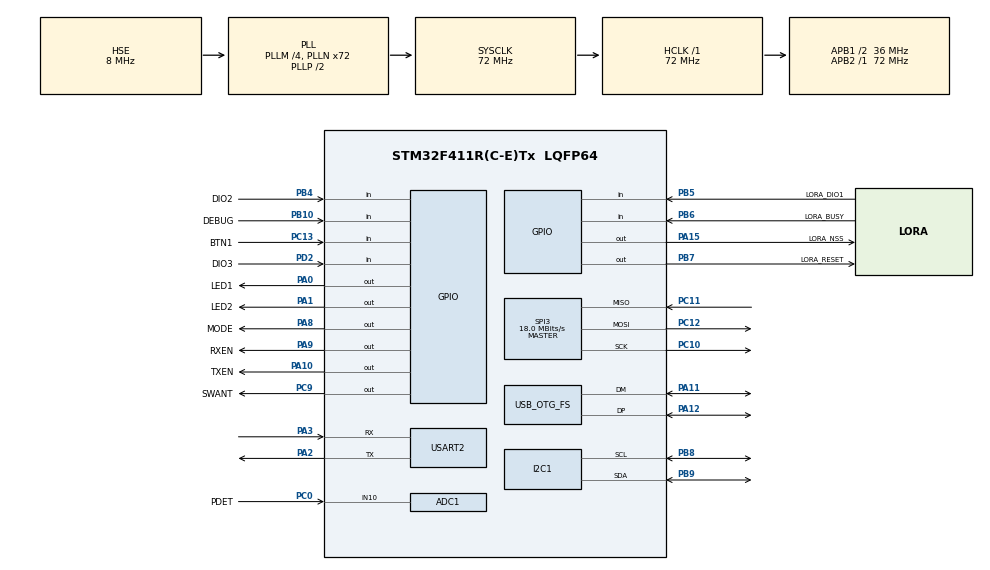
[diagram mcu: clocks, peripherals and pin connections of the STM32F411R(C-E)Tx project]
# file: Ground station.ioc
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ADC1.Channel-34\#ChannelRegularConversion=ADC_CHANNEL_10
ADC1.NbrOfConversionFlag=1
ADC1.Rank-34\#ChannelRegularConversion=1
ADC1.SamplingTime-34\#ChannelRegularConversion=ADC_SAMPLETIME_3CYCLES
ADC1.master=1
Mcu.Family=STM32F4
Mcu.Name=STM32F411R(C-E)Tx
Mcu.Package=LQFP64
NVIC.OTG_FS_IRQn=true\:0\:0\:false\:false\:true\:false\:true
NVIC.PriorityGroup=NVIC_PRIORITYGROUP_4
PA0-WKUP.GPIO_Label=LED1
PA0-WKUP.Signal=GPIO_Output
PA1.GPIO_Label=LED2
PA1.Signal=GPIO_Output
PA10.GPIO_Label=TXEN
PA10.Signal=GPIO_Output
PA11.Mode=Device_Only
PA11.Signal=USB_OTG_FS_DM
PA12.Mode=Device_Only
PA12.Signal=USB_OTG_FS_DP
PA13.Mode=Trace_Asynchronous_SW
PA13.Signal=SYS_JTMS-SWDIO
PA14.Mode=Trace_Asynchronous_SW
PA14.Signal=SYS_JTCK-SWCLK
PA15.GPIO_Label=LORA_NSS
PA15.Signal=GPIO_Output
PA2.Mode=Asynchronous
PA2.Signal=USART2_TX
PA3.Mode=Asynchronous
PA3.Signal=USART2_RX
PA8.GPIO_Label=MODE
PA8.PinState=GPIO_PIN_SET
PA8.Signal=GPIO_Output
PA9.GPIO_Label=RXEN
PA9.Signal=GPIO_Output
PB10.GPIO_Label=DEBUG
PB10.GPIO_PuPd=GPIO_PULLUP
PB10.Signal=GPIO_Input
PB3.Mode=Trace_Asynchronous_SW
PB3.Signal=SYS_JTDO-SWO
PB4.GPIO_Label=DIO2
PB4.Signal=GPIO_Input
PB5.GPIO_Label=LORA_DIO1
PB5.Signal=GPIO_Input
PB6.GPIO_Label=LORA_BUSY
PB6.Signal=GPIO_Input
PB7.GPIO_Label=LORA_RESET
PB7.Signal=GPIO_Output
PB8.Mode=I2C
PB8.Signal=I2C1_SCL
PB9.Mode=I2C
PB9.Signal=I2C1_SDA
PC0.GPIO_Label=PDET
PC0.Signal=ADCx_IN10
PC10.Mode=Full_Duplex_Master
PC10.Signal=SPI3_SCK
PC11.Mode=Full_Duplex_Master
PC11.Signal=SPI3_MISO
PC12.Mode=Full_Duplex_Master
PC12.Signal=SPI3_MOSI
PC13-ANTI_TAMP.GPIO_Label=BTN1
PC13-ANTI_TAMP.Signal=GPIO_Input
PC9.GPIO_Label=SWANT
PC9.PinState=GPIO_PIN_SET
PC9.Signal=GPIO_Output
PD2.GPIO_Label=DIO3
PD2.Signal=GPIO_Input
PH0\ -\ OSC_IN.Mode=HSE-External-Oscillator
PH0\ -\ OSC_IN.Signal=RCC_OSC_IN
PH1\ -\ OSC_OUT.Mode=HSE-External-Oscillator
PH1\ -\ OSC_OUT.Signal=RCC_OSC_OUT
ProjectManager.HeapSize=0x200
ProjectManager.StackSize=0x400
ProjectManager.TargetToolchain=STM32CubeIDE
RCC.48MHZClocksFreq_Value=48000000
RCC.AHBFreq_Value=72000000
RCC.APB1CLKDivider=RCC_HCLK_DIV2
RCC.APB1Freq_Value=36000000
RCC.APB1TimFreq_Value=72000000
RCC.APB2Freq_Value=72000000
RCC.APB2TimFreq_Value=72000000
RCC.CortexFreq_Value=72000000
RCC.HCLKFreq_Value=72000000
RCC.HSE_VALUE=8000000
RCC.HSI_VALUE=16000000
RCC.LSE_VALUE=32768
RCC.PLLM=4
RCC.PLLN=72
RCC.PLLQ=3
RCC.SYSCLKFreq_VALUE=72000000
RCC.SYSCLKSource=RCC_SYSCLKSOURCE_PLLCLK
RCC.VCOOutputFreq_Value=144000000
SH.ADCx_IN10.0=ADC1_IN10,IN10
SPI3.BaudRatePrescaler=SPI_BAUDRATEPRESCALER_2
SPI3.CalculateBaudRate=18.0 MBits/s
SPI3.Direction=SPI_DIRECTION_2LINES
SPI3.Mode=SPI_MODE_MASTER
SPI3.VirtualType=VM_MASTER
USART2.VirtualMode=VM_ASYNC
USB_DEVICE.CLASS_NAME_FS=CDC
USB_DEVICE.VirtualMode=Cdc
USB_DEVICE.VirtualModeFS=Cdc_FS
USB_OTG_FS.VirtualMode=Device_Only
VP_USB_DEVICE_VS_USB_DEVICE_CDC_FS.Mode=CDC_FS
board=custom

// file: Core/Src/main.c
/* USER CODE BEGIN Header */
/**
  ******************************************************************************
  * @file           : main.c
  * @brief          : Main program body
  ******************************************************************************
  * @attention
  *
  * <h2><center>&copy; Copyright (c) 2020 STMicroelectronics.
  * All rights reserved.</center></h2>
  *
  * This software component is licensed by ST under BSD 3-Clause license,
  * the "License"; You may not use this file except in compliance with the
  * License. You may obtain a copy of the License at:
  *                        opensource.org/licenses/BSD-3-Clause
  *
  ******************************************************************************
  */
/* USER CODE END Header */
#include "main.h"
#include "usb_device.h"

/* USER CODE BEGIN Includes */
#include "usbd_cdc_if.h"
#include "sx1280_custom.h"
#include "telemetry.h"
/* USER CODE END Includes */

/* USER CODE BEGIN PTD */

typedef struct Quaternion {
    float w;       /**< Scalar part */
    float v[3];    /**< Vector part */
} Quaternion;

/* USER CODE END PTD */

ADC_HandleTypeDef hadc1;

I2C_HandleTypeDef hi2c1;

SPI_HandleTypeDef hspi3;

UART_HandleTypeDef huart2;

/* USER CODE BEGIN PV */

uint8_t is_ant1 = 1;

/* USER CODE END PV */

void SystemClock_Config(void);
static void MX_GPIO_Init(void);
static void MX_ADC1_Init(void);
static void MX_I2C1_Init(void);
static void MX_SPI3_Init(void);
static void MX_USART2_UART_Init(void);
/* USER CODE BEGIN PFP */

void switchAntenna() {
    is_ant1 = !is_ant1;

    HAL_GPIO_WritePin(SWANT_GPIO_Port, SWANT_Pin, is_ant1);
    HAL_GPIO_WritePin(LED2_GPIO_Port, LED2_Pin, is_ant1);
}

/* USER CODE END PFP */

/* USER CODE BEGIN 0 */

void loraTesting(uint8_t isTx) {

    sx1280_custom radio;
    sxInit(&radio, &hspi3, LORA_NSS_GPIO_Port, LORA_NSS_Pin);

    if (isTx) {
        //SetTxParams(0x06, 0xE0); // Power = 13 dBm (0x1F), Pout = -18 + power (dBm) ramptime = 20 us.
        //SetTxParams(0x00, 0xE0); // lowest power -18dBm
        SetTxParams(&radio, 31, 0xE0); // Highest power. 12.5 dBm
        HAL_Delay(3);

        uint8_t data[] = { 0, 0, 0, 0 };

        WriteBuffer(&radio, 0, data, sizeof(data));
        HAL_Delay(1);

        SetDioIrqParams(&radio, 1, 1, 0, 0); // txdone on gpio1

        //SetTxContinuousWave();
        HAL_Delay(3);

        uint8_t ledon = 0;

        while (1) {
            ledon = !ledon;
            //data[1] = (rand()%5) * 30;
            //data[2] = (rand()%5) * 30;
            //data[3] = (rand()%5) * 30;
            data[2] = ledon * 100;

            //changeLed(data[1], data[2], data[3]);

            WriteBuffer(&radio, 0, data, sizeof(data));
            HAL_Delay(1);
            ClrIrqStatus(&radio, 1); // clear txdone irq
            HAL_Delay(1);
            SetTx(&radio, 0x02, 50); // time-out of 1ms * 50 = 50ms
            //SetRfFrequency2();
            //HAL_Delay(5000);
            //SetRfFrequency();
            //changeLed(0, 100, 0);
            HAL_Delay(500);
        }
    } else {
        // rx mode
        SetDioIrqParams(&radio, 1 << 1, 1 << 1, 0, 0); //rxdone on gpio1
        HAL_Delay(1);

        uint8_t data[32];
        data[0] = 60;
        data[1] = 60;
        data[2] = 60;
        uint8_t rxStartBufferPointer = 1;

        uint8_t counter = 0;

        while (1) {

            //SetRx(0x00, 0xffff); // continous rx
            SetRx(&radio, 0x00, 0); // No timeout
            //SetRx(0x02, 200); // 200 ms timeout
            HAL_Delay(1);
            // wait for reception:
            while (!HAL_GPIO_ReadPin(LORA_DIO1_GPIO_Port, LORA_DIO1_Pin)) {
            }

            //GetPacketStatus(); // TODO
            ClrIrqStatus(&radio, 1 << 1); // clear rxdone Irq
            HAL_Delay(1);
            //GetRxBufferStatus(); // TODO
            ReadBuffer(&radio, rxStartBufferPointer, 32, data);
            changeLed(data[1], data[2], data[3]);
            if (data[2]) {
                //htim2.Instance->CCR4 = 1000;
            } else {
                //htim2.Instance->CCR4 = 2000;
            }

            HAL_Delay(10);

        }

    }
}

void loraOrientation(uint8_t isTx) {

    sx1280_custom radio;

    sxInit(&radio, &hspi3, LORA_NSS_GPIO_Port, LORA_NSS_Pin);
    sxSetDio1Pin(&radio, LORA_DIO1_GPIO_Port, LORA_DIO1_Pin);

    float data[4];

    char printBuffer[128];

    if (isTx) {
    } else {
        // rx mode
        SetDioIrqParams(&radio, 1 << 1, 1 << 1, 0, 0); //rxdone on gpio1
        HAL_Delay(1);

        uint8_t rxStartBufferPointer = 1;

        //changeLed(0, 100, 0);
        while (1) {

            //SetRx(0x00, 0xffff); // continous rx
            SetRx(&radio, 0x00, 0); // No timeout
            //SetRx(0x02, 200); // 200 ms timeout
            HAL_Delay(1);
            // wait for reception:
            while (!HAL_GPIO_ReadPin(LORA_DIO1_GPIO_Port, LORA_DIO1_Pin)) {
            }

            GetPacketStatusLora(&radio);
            ClrIrqStatus(&radio, 1 << 1); // clear rxdone Irq
            HAL_Delay(1);
            //GetRxBufferStatus(); // TODO

            ReadBuffer(&radio, rxStartBufferPointer, sizeof(data),
                    (uint8_t*) data);
            snprintf(printBuffer, 128,
                    "Quaternion: %f, %f, %f, %f, RSSI: %f, SNR: %f\r\n",
                    data[0], data[1], data[2], data[3], radio.rssi, radio.snr);
            CDC_Transmit_FS((uint8_t*) printBuffer, strlen(printBuffer));
            HAL_Delay(1);

        }

    }
}

void loraTelemetry() {
    TLM_decoded TLM_dec;
    TLM_encoded TLM_enc;

    sx1280_custom radio;

    sxInit(&radio, &hspi3, LORA_NSS_GPIO_Port, LORA_NSS_Pin);
    sxSetDio1Pin(&radio, LORA_DIO1_GPIO_Port, LORA_DIO1_Pin);

    char printBuffer[256];

    // rx mode
    SetDioIrqParams(&radio, 1 | (1 << 1) | (1 << 6), 1 | 1 << 1, 0, 0); //rxdone/txdone on gpio1, crcerror on as well
    HAL_Delay(1);
    SetTxParams(&radio, 0x1F, 0xE0);
    HAL_Delay(1);

    uint8_t rxStartBufferPointer = 0;
    /*
    TLM_dec.packet_type = 1;
    TLM_dec.flight_state = 23;
    TLM_dec.is_playing_music = 0;
    TLM_dec.is_data_logging = 0;
    TLM_dec.pin_states = 0b00011011;
    TLM_dec.servo_state = 3;
    TLM_dec.vbat = 7.283;
    TLM_dec.systick = 1232432;
    TLM_dec.orientation_quat[0] = 0.143123;
    TLM_dec.acc[2] = -12343;
    TLM_dec.gyro[2] = -21;
    TLM_dec.baro = 90001.623;
    TLM_dec.temp = 63.4;
    TLM_dec.vertical_velocity = 180;
    TLM_dec.altitude = 1321;
    TLM_dec.debug = 1337;
    TLM_dec.ranging = 15212;

     */

    float latitude = 52.394821;
    float longitude = 5.922696;

    float acc_conversion = 0.0095712904;
    float gyro_conversion = 0.00122173047; //0.070;

    uint32_t pkt_count = 0;

    //changeLed(0, 100, 0);
    uint8_t data[4];
    uint32_t lasttime = HAL_GetTick();
    uint32_t nowtime = HAL_GetTick();
    uint32_t delay = 0;

    uint8_t is_soft_enabled;
    uint8_t is_armed ;
    uint8_t is_breakwire_connected;
    uint8_t is_camera_on;

    uint8_t button_pressed = 0;

    uint8_t controlData[4];

    uint8_t last_cam_control_state = 1;
    uint8_t debounce_helper = 0;
    while (1) {

        //SetRx(0x00, 0xffff); // continous rx
        SetRx(&radio, 0x00, 0); // No timeout
        //SetRx(0x02, 200); // 200 ms timeout
        HAL_Delay(1);
        // wait for reception:
        for (int i = 0; i < 70; i++) { // 50 ms timeout
            if (HAL_GPIO_ReadPin(LORA_DIO1_GPIO_Port, LORA_DIO1_Pin)) {
                nowtime = HAL_GetTick();
                delay = nowtime - lasttime  ;
                lasttime = nowtime;
                break;
            }
            HAL_Delay(1);
        }

        if (HAL_GPIO_ReadPin(LORA_DIO1_GPIO_Port, LORA_DIO1_Pin)) {

            pkt_count++;

            GetPacketStatusLora(&radio);
            GetIrqStatus(&radio);

            ClrIrqStatus(&radio, 1 | (1 << 1) | (1 << 6)); // clear rxdone/txdone Irq and crcerror
            HAL_Delay(1);
            //GetRxBufferStatus(); // TODO

            ReadBuffer(&radio, rxStartBufferPointer, sizeof(TLM_enc),
                    (uint8_t*) &TLM_enc);
            //ReadBuffer(&radio, rxStartBufferPointer, sizeof(data), (uint8_t*) data);
            decode_TLM(&TLM_enc, &TLM_dec);
            //snprintf(printBuffer, 128, "%d,%d,%d,%d,%d,%d,%f,%d,%f,%d,%d,%f,%f,%f,%f,%f\r\n", TLM_dec.packet_type,TLM_dec.flight_state,TLM_dec.is_playing_music,TLM_dec.is_data_logging,
            //        TLM_dec.pin_states,TLM_dec.servo_state, TLM_dec.vbat, TLM_dec.systick, TLM_dec.orientation_quat[0], TLM_dec.acc[2],TLM_dec.gyro[2],TLM_dec.baro, TLM_dec.temp, TLM_dec.vertical_velocity,
            //        TLM_dec.altitude, TLM_dec.ranging);

            is_soft_enabled = (TLM_dec.pin_states & 1);
            is_armed = (TLM_dec.pin_states & (1 << 1)) >> 1;
            is_breakwire_connected = (TLM_dec.pin_states & (1 << 2)) >> 2;
            is_camera_on = (TLM_dec.pin_states & (1 << 3)) >> 3;

            snprintf(printBuffer, 256,
                    "/*Project Zeggreus,%ld,%ld,%f,%f,%f,%f,%f,%ld,%ld,%f,%f,%f,%f,%f,%f,%f,%f,%f,%f,%f,%d,%d,%d,%d,%d,%d,%d,%f,%f,%f,%f*/\r\n",
                    TLM_dec.systick, pkt_count, TLM_dec.vbat, TLM_dec.temp,
                    TLM_dec.altitude, TLM_dec.baro / 1000, TLM_dec.temp, delay,
                    TLM_dec.systick, longitude, latitude, TLM_dec.altitude, 0.0,
                    TLM_dec.acc[0] * acc_conversion,
                    TLM_dec.acc[1] * acc_conversion,
                    TLM_dec.acc[2] * acc_conversion,
                    TLM_dec.gyro[0] * gyro_conversion,
                    TLM_dec.gyro[1] * gyro_conversion,
                    TLM_dec.gyro[2] * gyro_conversion, radio.rssi,
                    radio.crcError, is_ant1 ? 1 : 2, is_soft_enabled, is_armed,
                    is_breakwire_connected, is_camera_on,TLM_dec.flight_state), TLM_dec.orientation_quat[0],TLM_dec.orientation_quat[1],TLM_dec.orientation_quat[2],TLM_dec.orientation_quat[3];

            //snprintf(printBuffer, 128, "Quaternion:%f, %f, %f, %f\r\n", TLM_dec.orientation_quat[0], TLM_dec.orientation_quat[1], TLM_dec.orientation_quat[2], TLM_dec.orientation_quat[3]);
            //snprintf(printBuffer, 128,
            //       "Quaternion: %d, %d, %d, %d, RSSI: %f, SNR: %f\r\n",
            //       data[0], data[1], data[2], data[3], radio.rssi, radio.snr);
            CDC_Transmit_FS((uint8_t*) printBuffer, strlen(printBuffer));
            HAL_GPIO_WritePin(LED1_GPIO_Port, LED1_Pin, GPIO_PIN_SET);

        } else {
            HAL_GPIO_WritePin(LED1_GPIO_Port, LED1_Pin, GPIO_PIN_RESET);
            // try other antenna
            switchAntenna();
        }

        if (!HAL_GPIO_ReadPin(BTN1_GPIO_Port, BTN1_Pin)) {
            if (!button_pressed) {
                switchAntenna();
                button_pressed = 1;
            }
        }
        else {
            button_pressed = 0;
        }

        // two way telemetry
        if (last_cam_control_state != HAL_GPIO_ReadPin(DEBUG_GPIO_Port, DEBUG_Pin)) {
            last_cam_control_state = HAL_GPIO_ReadPin(DEBUG_GPIO_Port, DEBUG_Pin);
            debounce_helper = 0;
            for (int i = 0; i < 5; i++) {
                if (last_cam_control_state != HAL_GPIO_ReadPin(DEBUG_GPIO_Port, DEBUG_Pin)) {
                    debounce_helper = 1;
                    last_cam_control_state = !last_cam_control_state; // back to previous state
                    break;
                }
                HAL_Delay(1);
            }
            if (debounce_helper == 0) {
                if (last_cam_control_state) {
                    // secret enable camera code
                    controlData[0] = 123;
                    controlData[1] = 100;
                    controlData[2] = 123;
                    controlData[3] = 100;
                }
                else {
                    // super secret disable camera code
                    controlData[0] = 12;
                    controlData[1] = 34;
                    controlData[2] = 56;
                    controlData[3] = 78;
                }

                SetPacketParamsLora(&radio, 12, 0x80, 4, 0x20, 0x40); // 4 byte payload
                HAL_Delay(1);
                WriteBuffer(&radio, 0, controlData, sizeof(controlData));

                for (int packetnum = 0; packetnum < 200; packetnum++) { // blast out 50 packets, hopefully one of them is received.

                    for (int i = 0; i < 100; i++) {
                        if (HAL_GPIO_ReadPin(LORA_DIO1_GPIO_Port, LORA_DIO1_Pin)) {
                            break;
                        }
                        HAL_Delay(1);
                    }

                    ClrIrqStatus(&radio, 1 | (1 << 1));
                    HAL_Delay(1);
                    SetTx(&radio, 0x02, 50); // time-out of 1ms * 50 = 50ms
                }

                HAL_Delay(1);
                SetPacketParamsLora(&radio, 12, 0x80, 32, 0x20, 0x40);
            }
        }

        HAL_Delay(1);

    }

}

/* USER CODE END 0 */

int main(void)
{

  /* MCU Configuration--------------------------------------------------------*/

  /* Reset of all peripherals, Initializes the Flash interface and the Systick. */
  HAL_Init();

  /* Configure the system clock */
  SystemClock_Config();

  /* Initialize all configured peripherals */
  MX_GPIO_Init();
  MX_ADC1_Init();
  MX_I2C1_Init();
  MX_SPI3_Init();
  MX_USART2_UART_Init();
  MX_USB_DEVICE_Init();
  /* USER CODE BEGIN 2 */
  loraTelemetry(0);

  HAL_Delay(200);
  /* USER CODE END 2 */

  /* Infinite loop */
  /* USER CODE BEGIN WHILE */
  while (1)
  {
	  //sprintf(printBuffer,"/*Project Zeggreus,10,10,10,10,10,10,10,10,10,10,10,10,10,10,10,10,10,10,10*/");
	  //CDC_Transmit_FS((uint8_t*) printBuffer, strlen(printBuffer));
	  //HAL_Delay(500);
	  //HAL_GPIO_TogglePin(LED1_GPIO_Port, LED1_Pin);

    /* USER CODE END WHILE */

  }
}

void SystemClock_Config(void)
{
  RCC_OscInitTypeDef RCC_OscInitStruct = {0};
  RCC_ClkInitTypeDef RCC_ClkInitStruct = {0};

  /** Configure the main internal regulator output voltage
  */
  __HAL_RCC_PWR_CLK_ENABLE();
  __HAL_PWR_VOLTAGESCALING_CONFIG(PWR_REGULATOR_VOLTAGE_SCALE1);
  /** Initializes the RCC Oscillators according to the specified parameters
  * in the RCC_OscInitTypeDef structure.
  */
  RCC_OscInitStruct.OscillatorType = RCC_OSCILLATORTYPE_HSE;
  RCC_OscInitStruct.HSEState = RCC_HSE_ON;
  RCC_OscInitStruct.PLL.PLLState = RCC_PLL_ON;
  RCC_OscInitStruct.PLL.PLLSource = RCC_PLLSOURCE_HSE;
  RCC_OscInitStruct.PLL.PLLM = 4;
  RCC_OscInitStruct.PLL.PLLN = 72;
  RCC_OscInitStruct.PLL.PLLP = RCC_PLLP_DIV2;
  RCC_OscInitStruct.PLL.PLLQ = 3;
  if (HAL_RCC_OscConfig(&RCC_OscInitStruct) != HAL_OK)
  {
    Error_Handler();
  }
  /** Initializes the CPU, AHB and APB buses clocks
  */
  RCC_ClkInitStruct.ClockType = RCC_CLOCKTYPE_HCLK|RCC_CLOCKTYPE_SYSCLK
                              |RCC_CLOCKTYPE_PCLK1|RCC_CLOCKTYPE_PCLK2;
  RCC_ClkInitStruct.SYSCLKSource = RCC_SYSCLKSOURCE_PLLCLK;
  RCC_ClkInitStruct.AHBCLKDivider = RCC_SYSCLK_DIV1;
  RCC_ClkInitStruct.APB1CLKDivider = RCC_HCLK_DIV2;
  RCC_ClkInitStruct.APB2CLKDivider = RCC_HCLK_DIV1;

  if (HAL_RCC_ClockConfig(&RCC_ClkInitStruct, FLASH_LATENCY_2) != HAL_OK)
  {
    Error_Handler();
  }
}

static void MX_ADC1_Init(void)
{

  ADC_ChannelConfTypeDef sConfig = {0};

  /** Configure the global features of the ADC (Clock, Resolution, Data Alignment and number of conversion)
  */
  hadc1.Instance = ADC1;
  hadc1.Init.ClockPrescaler = ADC_CLOCK_SYNC_PCLK_DIV2;
  hadc1.Init.Resolution = ADC_RESOLUTION_12B;
  hadc1.Init.ScanConvMode = DISABLE;
  hadc1.Init.ContinuousConvMode = DISABLE;
  hadc1.Init.DiscontinuousConvMode = DISABLE;
  hadc1.Init.ExternalTrigConvEdge = ADC_EXTERNALTRIGCONVEDGE_NONE;
  hadc1.Init.ExternalTrigConv = ADC_SOFTWARE_START;
  hadc1.Init.DataAlign = ADC_DATAALIGN_RIGHT;
  hadc1.Init.NbrOfConversion = 1;
  hadc1.Init.DMAContinuousRequests = DISABLE;
  hadc1.Init.EOCSelection = ADC_EOC_SINGLE_CONV;
  if (HAL_ADC_Init(&hadc1) != HAL_OK)
  {
    Error_Handler();
  }
  /** Configure for the selected ADC regular channel its corresponding rank in the sequencer and its sample time.
  */
  sConfig.Channel = ADC_CHANNEL_10;
  sConfig.Rank = 1;
  sConfig.SamplingTime = ADC_SAMPLETIME_3CYCLES;
  if (HAL_ADC_ConfigChannel(&hadc1, &sConfig) != HAL_OK)
  {
    Error_Handler();
  }

}

static void MX_I2C1_Init(void)
{

  hi2c1.Instance = I2C1;
  hi2c1.Init.ClockSpeed = 100000;
  hi2c1.Init.DutyCycle = I2C_DUTYCYCLE_2;
  hi2c1.Init.OwnAddress1 = 0;
  hi2c1.Init.AddressingMode = I2C_ADDRESSINGMODE_7BIT;
  hi2c1.Init.DualAddressMode = I2C_DUALADDRESS_DISABLE;
  hi2c1.Init.OwnAddress2 = 0;
  hi2c1.Init.GeneralCallMode = I2C_GENERALCALL_DISABLE;
  hi2c1.Init.NoStretchMode = I2C_NOSTRETCH_DISABLE;
  if (HAL_I2C_Init(&hi2c1) != HAL_OK)
  {
    Error_Handler();
  }

}

static void MX_SPI3_Init(void)
{

  /* SPI3 parameter configuration*/
  hspi3.Instance = SPI3;
  hspi3.Init.Mode = SPI_MODE_MASTER;
  hspi3.Init.Direction = SPI_DIRECTION_2LINES;
  hspi3.Init.DataSize = SPI_DATASIZE_8BIT;
  hspi3.Init.CLKPolarity = SPI_POLARITY_LOW;
  hspi3.Init.CLKPhase = SPI_PHASE_1EDGE;
  hspi3.Init.NSS = SPI_NSS_SOFT;
  hspi3.Init.BaudRatePrescaler = SPI_BAUDRATEPRESCALER_2;
  hspi3.Init.FirstBit = SPI_FIRSTBIT_MSB;
  hspi3.Init.TIMode = SPI_TIMODE_DISABLE;
  hspi3.Init.CRCCalculation = SPI_CRCCALCULATION_DISABLE;
  hspi3.Init.CRCPolynomial = 10;
  if (HAL_SPI_Init(&hspi3) != HAL_OK)
  {
    Error_Handler();
  }

}

static void MX_USART2_UART_Init(void)
{

  huart2.Instance = USART2;
  huart2.Init.BaudRate = 115200;
  huart2.Init.WordLength = UART_WORDLENGTH_8B;
  huart2.Init.StopBits = UART_STOPBITS_1;
  huart2.Init.Parity = UART_PARITY_NONE;
  huart2.Init.Mode = UART_MODE_TX_RX;
  huart2.Init.HwFlowCtl = UART_HWCONTROL_NONE;
  huart2.Init.OverSampling = UART_OVERSAMPLING_16;
  if (HAL_UART_Init(&huart2) != HAL_OK)
  {
    Error_Handler();
  }

}

static void MX_GPIO_Init(void)
{
  GPIO_InitTypeDef GPIO_InitStruct = {0};

  /* GPIO Ports Clock Enable */
  __HAL_RCC_GPIOC_CLK_ENABLE();
  __HAL_RCC_GPIOH_CLK_ENABLE();
  __HAL_RCC_GPIOA_CLK_ENABLE();
  __HAL_RCC_GPIOB_CLK_ENABLE();
  __HAL_RCC_GPIOD_CLK_ENABLE();

  /*Configure GPIO pin Output Level */
  HAL_GPIO_WritePin(GPIOA, LED1_Pin|LED2_Pin|RXEN_Pin|TXEN_Pin
                          |LORA_NSS_Pin, GPIO_PIN_RESET);

  /*Configure GPIO pin Output Level */
  HAL_GPIO_WritePin(SWANT_GPIO_Port, SWANT_Pin, GPIO_PIN_SET);

  /*Configure GPIO pin Output Level */
  HAL_GPIO_WritePin(MODE_GPIO_Port, MODE_Pin, GPIO_PIN_SET);

  /*Configure GPIO pin Output Level */
  HAL_GPIO_WritePin(LORA_RESET_GPIO_Port, LORA_RESET_Pin, GPIO_PIN_RESET);

  /*Configure GPIO pin : BTN1_Pin */
  GPIO_InitStruct.Pin = BTN1_Pin;
  GPIO_InitStruct.Mode = GPIO_MODE_INPUT;
  GPIO_InitStruct.Pull = GPIO_NOPULL;
  HAL_GPIO_Init(BTN1_GPIO_Port, &GPIO_InitStruct);

  /*Configure GPIO pins : LED1_Pin LED2_Pin MODE_Pin RXEN_Pin
                           TXEN_Pin LORA_NSS_Pin */
  GPIO_InitStruct.Pin = LED1_Pin|LED2_Pin|MODE_Pin|RXEN_Pin
                          |TXEN_Pin|LORA_NSS_Pin;
  GPIO_InitStruct.Mode = GPIO_MODE_OUTPUT_PP;
  GPIO_InitStruct.Pull = GPIO_NOPULL;
  GPIO_InitStruct.Speed = GPIO_SPEED_FREQ_LOW;
  HAL_GPIO_Init(GPIOA, &GPIO_InitStruct);

  /*Configure GPIO pin : DEBUG_Pin */
  GPIO_InitStruct.Pin = DEBUG_Pin;
  GPIO_InitStruct.Mode = GPIO_MODE_INPUT;
  GPIO_InitStruct.Pull = GPIO_PULLUP;
  HAL_GPIO_Init(DEBUG_GPIO_Port, &GPIO_InitStruct);

  /*Configure GPIO pin : SWANT_Pin */
  GPIO_InitStruct.Pin = SWANT_Pin;
  GPIO_InitStruct.Mode = GPIO_MODE_OUTPUT_PP;
  GPIO_InitStruct.Pull = GPIO_NOPULL;
  GPIO_InitStruct.Speed = GPIO_SPEED_FREQ_LOW;
  HAL_GPIO_Init(SWANT_GPIO_Port, &GPIO_InitStruct);

  /*Configure GPIO pin : DIO3_Pin */
  GPIO_InitStruct.Pin = DIO3_Pin;
  GPIO_InitStruct.Mode = GPIO_MODE_INPUT;
  GPIO_InitStruct.Pull = GPIO_NOPULL;
  HAL_GPIO_Init(DIO3_GPIO_Port, &GPIO_InitStruct);

  /*Configure GPIO pins : DIO2_Pin LORA_DIO1_Pin LORA_BUSY_Pin */
  GPIO_InitStruct.Pin = DIO2_Pin|LORA_DIO1_Pin|LORA_BUSY_Pin;
  GPIO_InitStruct.Mode = GPIO_MODE_INPUT;
  GPIO_InitStruct.Pull = GPIO_NOPULL;
  HAL_GPIO_Init(GPIOB, &GPIO_InitStruct);

  /*Configure GPIO pin : LORA_RESET_Pin */
  GPIO_InitStruct.Pin = LORA_RESET_Pin;
  GPIO_InitStruct.Mode = GPIO_MODE_OUTPUT_PP;
  GPIO_InitStruct.Pull = GPIO_NOPULL;
  GPIO_InitStruct.Speed = GPIO_SPEED_FREQ_LOW;
  HAL_GPIO_Init(LORA_RESET_GPIO_Port, &GPIO_InitStruct);

}

void Error_Handler(void)
{
  __disable_irq();
  while (1)
  {
  }
}

/************************ (C) COPYRIGHT STMicroelectronics *****END OF FILE****/
